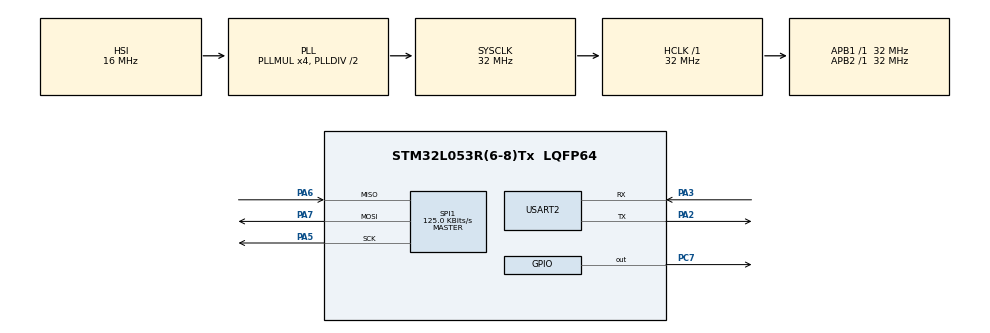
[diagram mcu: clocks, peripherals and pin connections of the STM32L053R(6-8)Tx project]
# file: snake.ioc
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Mcu.Family=STM32L0
RCC.MSI_VALUE=2097000
PA6.Mode=Full_Duplex_Master
PA7.Mode=Full_Duplex_Master
SPI1.VirtualType=VM_MASTER
VP_RNG_VS_RNG.Mode=RNG_Activate
NVIC.USART2_IRQn=true\:0\:0\:false\:false\:true\:true\:true
RCC.SYSCLKSource=RCC_SYSCLKSOURCE_PLLCLK
ProjectManager.StackSize=0x400
PA3.Mode=Asynchronous
RCC.HSI16_VALUE=16000000
ProjectManager.TargetToolchain=STM32CubeIDE
SPI1.Direction=SPI_DIRECTION_2LINES
RCC.HCLKFreq_Value=32000000
RCC.APB2TimFreq_Value=32000000
PC7.Signal=GPIO_Output
SPI1.CalculateBaudRate=125.0 KBits/s
RCC.LSE_VALUE=32768
RCC.AHBFreq_Value=32000000
PA5.Signal=SPI1_SCK
RCC.HSE_VALUE=8000000
board=custom
USART2.VirtualMode-Asynchronous=VM_ASYNC
RCC.VCOOutputFreq_Value=64000000
RCC.PLLMUL=RCC_PLLMUL_4
RCC.APB2Freq_Value=32000000
VP_TIM2_VS_ClockSourceINT.Mode=Internal
SPI1.Mode=SPI_MODE_MASTER
NVIC.TIM2_IRQn=true\:0\:0\:false\:false\:true\:true\:true
TIM2.Period=200
Mcu.Name=STM32L053R(6-8)Tx
PA2.Signal=USART2_TX
RCC.SYSCLKFreq_VALUE=32000000
Mcu.Package=LQFP64
TIM2.Prescaler=31999
PA6.Signal=SPI1_MISO
ProjectManager.HeapSize=0x200
RCC.HSI_VALUE=16000000
RCC.APB1TimFreq_Value=32000000
PA2.Mode=Asynchronous
RCC.APB1Freq_Value=32000000
SPI1.BaudRatePrescaler=SPI_BAUDRATEPRESCALER_256
RCC.HSI48_VALUE=48000000
PA3.Signal=USART2_RX
PA5.Mode=Full_Duplex_Master
PA7.Signal=SPI1_MOSI

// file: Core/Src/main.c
/* USER CODE BEGIN Header */
/**
  ******************************************************************************
  * @file           : main.c
  * @brief          : Main program body
  ******************************************************************************
  * @attention
  *
  * <h2><center>&copy; Copyright (c) 2021 STMicroelectronics.
  * All rights reserved.</center></h2>
  *
  * This software component is licensed by ST under BSD 3-Clause license,
  * the "License"; You may not use this file except in compliance with the
  * License. You may obtain a copy of the License at:
  *                        opensource.org/licenses/BSD-3-Clause
  *
  ******************************************************************************
  */
/* USER CODE END Header */
#include "main.h"

/* USER CODE BEGIN PTD */
struct dot_t {
  uint8_t x;
  uint8_t y;
  struct dot_t *next;
};

typedef struct dot_t dot_t;

typedef enum { true = 1, false = 0 } bool;
/* USER CODE END PTD */

RNG_HandleTypeDef hrng;

SPI_HandleTypeDef hspi1;

TIM_HandleTypeDef htim2;

UART_HandleTypeDef huart2;

/* USER CODE BEGIN PV */

dot_t snake;
dot_t food;
dot_t *ptr = &snake;

uint8_t dx = 1;
uint8_t dy = 0;
uint8_t direction = DOWN;
uint8_t key;
bool disable_key = false;
uint8_t LED = 0x00;
/* USER CODE END PV */

void SystemClock_Config(void);
static void MX_GPIO_Init(void);
static void MX_SPI1_Init(void);
static void MX_USART2_UART_Init(void);
static void MX_RNG_Init(void);
static void MX_TIM2_Init(void);

int main(void)
{

  /* MCU Configuration--------------------------------------------------------*/

  /* Reset of all peripherals, Initializes the Flash interface and the Systick. */
  HAL_Init();

  /* Configure the system clock */
  SystemClock_Config();

  /* Initialize all configured peripherals */
  MX_GPIO_Init();
  MX_SPI1_Init();
  MX_USART2_UART_Init();
  MX_RNG_Init();
  MX_TIM2_Init();
  /* USER CODE BEGIN 2 */
  max7219(Shutdown, 0);
  max7219(Test, 0);
  max7219(Decode, 0);
  max7219(Intensity, 0xF);
  max7219(Scan, 7);
  max7219(Shutdown, 1);

  dot_t *self = ptr;
  snake.x = 1, snake.y = 1;
  for (uint8_t i = 0; i < 3; i++) {
    dot_t *node = make_dot();
    self->next = node;
    node->x = 1, node->y = i + 2, node->next = 0;
    self = node;
  }

  generate_food();

  HAL_TIM_Base_Start_IT(&htim2);
  HAL_TIM_IRQHandler(&htim2);
  HAL_UART_Receive_IT(&huart2, &key, 1);
  /* USER CODE END 2 */

  /* Infinite loop */
  while (1) {

  }
}

void SystemClock_Config(void)
{
  RCC_OscInitTypeDef RCC_OscInitStruct = {0};
  RCC_ClkInitTypeDef RCC_ClkInitStruct = {0};
  RCC_PeriphCLKInitTypeDef PeriphClkInit = {0};

  /** Configure the main internal regulator output voltage
  */
  __HAL_PWR_VOLTAGESCALING_CONFIG(PWR_REGULATOR_VOLTAGE_SCALE1);
  /** Initializes the RCC Oscillators according to the specified parameters
  * in the RCC_OscInitTypeDef structure.
  */
  RCC_OscInitStruct.OscillatorType = RCC_OSCILLATORTYPE_HSI;
  RCC_OscInitStruct.HSIState = RCC_HSI_ON;
  RCC_OscInitStruct.HSICalibrationValue = RCC_HSICALIBRATION_DEFAULT;
  RCC_OscInitStruct.PLL.PLLState = RCC_PLL_ON;
  RCC_OscInitStruct.PLL.PLLSource = RCC_PLLSOURCE_HSI;
  RCC_OscInitStruct.PLL.PLLMUL = RCC_PLLMUL_4;
  RCC_OscInitStruct.PLL.PLLDIV = RCC_PLLDIV_2;
  if (HAL_RCC_OscConfig(&RCC_OscInitStruct) != HAL_OK)
  {
    Error_Handler();
  }
  /** Initializes the CPU, AHB and APB buses clocks
  */
  RCC_ClkInitStruct.ClockType = RCC_CLOCKTYPE_HCLK|RCC_CLOCKTYPE_SYSCLK
                              |RCC_CLOCKTYPE_PCLK1|RCC_CLOCKTYPE_PCLK2;
  RCC_ClkInitStruct.SYSCLKSource = RCC_SYSCLKSOURCE_PLLCLK;
  RCC_ClkInitStruct.AHBCLKDivider = RCC_SYSCLK_DIV1;
  RCC_ClkInitStruct.APB1CLKDivider = RCC_HCLK_DIV1;
  RCC_ClkInitStruct.APB2CLKDivider = RCC_HCLK_DIV1;

  if (HAL_RCC_ClockConfig(&RCC_ClkInitStruct, FLASH_LATENCY_1) != HAL_OK)
  {
    Error_Handler();
  }
  PeriphClkInit.PeriphClockSelection = RCC_PERIPHCLK_USART2|RCC_PERIPHCLK_USB;
  PeriphClkInit.Usart2ClockSelection = RCC_USART2CLKSOURCE_PCLK1;
  PeriphClkInit.UsbClockSelection = RCC_USBCLKSOURCE_PLL;
  if (HAL_RCCEx_PeriphCLKConfig(&PeriphClkInit) != HAL_OK)
  {
    Error_Handler();
  }
}

static void MX_RNG_Init(void)
{

  hrng.Instance = RNG;
  if (HAL_RNG_Init(&hrng) != HAL_OK)
  {
    Error_Handler();
  }

}

static void MX_SPI1_Init(void)
{

  /* SPI1 parameter configuration*/
  hspi1.Instance = SPI1;
  hspi1.Init.Mode = SPI_MODE_MASTER;
  hspi1.Init.Direction = SPI_DIRECTION_2LINES;
  hspi1.Init.DataSize = SPI_DATASIZE_8BIT;
  hspi1.Init.CLKPolarity = SPI_POLARITY_LOW;
  hspi1.Init.CLKPhase = SPI_PHASE_1EDGE;
  hspi1.Init.NSS = SPI_NSS_SOFT;
  hspi1.Init.BaudRatePrescaler = SPI_BAUDRATEPRESCALER_256;
  hspi1.Init.FirstBit = SPI_FIRSTBIT_MSB;
  hspi1.Init.TIMode = SPI_TIMODE_DISABLE;
  hspi1.Init.CRCCalculation = SPI_CRCCALCULATION_DISABLE;
  hspi1.Init.CRCPolynomial = 7;
  if (HAL_SPI_Init(&hspi1) != HAL_OK)
  {
    Error_Handler();
  }

}

static void MX_TIM2_Init(void)
{

  TIM_ClockConfigTypeDef sClockSourceConfig = {0};
  TIM_MasterConfigTypeDef sMasterConfig = {0};

  htim2.Instance = TIM2;
  htim2.Init.Prescaler = 31999;
  htim2.Init.CounterMode = TIM_COUNTERMODE_UP;
  htim2.Init.Period = 200;
  htim2.Init.ClockDivision = TIM_CLOCKDIVISION_DIV1;
  htim2.Init.AutoReloadPreload = TIM_AUTORELOAD_PRELOAD_DISABLE;
  if (HAL_TIM_Base_Init(&htim2) != HAL_OK)
  {
    Error_Handler();
  }
  sClockSourceConfig.ClockSource = TIM_CLOCKSOURCE_INTERNAL;
  if (HAL_TIM_ConfigClockSource(&htim2, &sClockSourceConfig) != HAL_OK)
  {
    Error_Handler();
  }
  sMasterConfig.MasterOutputTrigger = TIM_TRGO_RESET;
  sMasterConfig.MasterSlaveMode = TIM_MASTERSLAVEMODE_DISABLE;
  if (HAL_TIMEx_MasterConfigSynchronization(&htim2, &sMasterConfig) != HAL_OK)
  {
    Error_Handler();
  }

}

static void MX_USART2_UART_Init(void)
{

  huart2.Instance = USART2;
  huart2.Init.BaudRate = 115200;
  huart2.Init.WordLength = UART_WORDLENGTH_8B;
  huart2.Init.StopBits = UART_STOPBITS_1;
  huart2.Init.Parity = UART_PARITY_NONE;
  huart2.Init.Mode = UART_MODE_TX_RX;
  huart2.Init.HwFlowCtl = UART_HWCONTROL_NONE;
  huart2.Init.OverSampling = UART_OVERSAMPLING_16;
  huart2.Init.OneBitSampling = UART_ONE_BIT_SAMPLE_DISABLE;
  huart2.AdvancedInit.AdvFeatureInit = UART_ADVFEATURE_NO_INIT;
  if (HAL_UART_Init(&huart2) != HAL_OK)
  {
    Error_Handler();
  }

}

static void MX_GPIO_Init(void)
{
  GPIO_InitTypeDef GPIO_InitStruct = {0};

  /* GPIO Ports Clock Enable */
  __HAL_RCC_GPIOA_CLK_ENABLE();
  __HAL_RCC_GPIOC_CLK_ENABLE();

  /*Configure GPIO pin Output Level */
  HAL_GPIO_WritePin(GPIOC, GPIO_PIN_7, GPIO_PIN_RESET);

  /*Configure GPIO pin : PC7 */
  GPIO_InitStruct.Pin = GPIO_PIN_7;
  GPIO_InitStruct.Mode = GPIO_MODE_OUTPUT_PP;
  GPIO_InitStruct.Pull = GPIO_NOPULL;
  GPIO_InitStruct.Speed = GPIO_SPEED_FREQ_LOW;
  HAL_GPIO_Init(GPIOC, &GPIO_InitStruct);

}

/* USER CODE BEGIN 4 */

void max7219(uint8_t r, uint8_t d) {
	HAL_GPIO_WritePin(GPIOC, GPIO_PIN_7, 1);
	HAL_SPI_Transmit(&hspi1, &r, 1, 1);
	HAL_SPI_Transmit(&hspi1, &d, 1, 1);
	HAL_GPIO_WritePin(GPIOC, GPIO_PIN_7, 0);
}

void display() {
  for (uint8_t i = 0; i < 8; i++) {
    LED = 0x00;

    if (food.x == i) {
      LED |= (1 << food.y);
    }

    dot_t *self = ptr;
    while (self != 0) {
      if (self->x == i) {
        LED |= (1 << self->y);
      }
      self = self->next;
    }
    max7219(i + 1, LED);
  }
}

void generate_food() {
  dot_t *self = ptr;
GEN:
  food.x = HAL_RNG_GetRandomNumber(&hrng) % 8;
  food.y = HAL_RNG_GetRandomNumber(&hrng) % 8;

  while (self != 0) {
    if (food.x == self->x && food.y == self->y) {
      goto GEN;
    }
    self = self->next;
  }
}

void move() {
  switch (direction) {
  case RIGHT:
    dx = 0;
    dy = 7;
    break;
  case LEFT:
    dx = 0;
    dy = 1;
    break;
  case UP:
    dx = 7;
    dy = 0;
    break;
  case DOWN:
    dx = 1;
    dy = 0;
    break;
  default:
    break;
  }

  dot_t *self = ptr;

  uint8_t next_x, next_y, last_x, last_y, head_x, head_y;
  next_x = self->x + dx;
  next_y = self->y + dy;

  if (next_x >= 8) next_x -= 8;

  if (next_y >= 8) next_y -= 8;

  head_x = next_x, head_y = next_y;

  if (next_x == food.x && next_y == food.y) {
    dot_t *node = make_dot();
    node->x = food.x, node->y = food.y, node->next = self;
    ptr = node;
    generate_food();
    return;
  }

  while (self != 0) {
    last_x = self->x;
    last_y = self->y;
    self->x = next_x;
    self->y = next_y;
    next_x = last_x;
    next_y = last_y;
    if (head_x == next_x && head_y == next_y) {
      display();
      game_over();
    }
    self = self->next;
  }
}

void game_over() {
  max7219(Shutdown, 0);
  HAL_NVIC_SystemReset();
}

dot_t *make_dot() { return malloc(sizeof(dot_t)); }

void HAL_UART_RxCpltCallback(UART_HandleTypeDef *huart) {
  disable_key = false;
  switch (key) {
  case RIGHT:
    if (direction == LEFT)
      disable_key = true;
    break;
  case LEFT:
    if (direction == RIGHT)
      disable_key = true;
    break;
  case UP:
    if (direction == DOWN)
      disable_key = true;
    break;
  case DOWN:
    if (direction == UP)
      disable_key = true;
    break;
  default:
    break;
  }
  if (!disable_key)
    direction = key;
  HAL_UART_Receive_IT(&huart2, &key, 1);
}

/* USER CODE END 4 */

void Error_Handler(void)
{
  __disable_irq();
  while (1)
  {
  }
}

/************************ (C) COPYRIGHT STMicroelectronics *****END OF FILE****/
